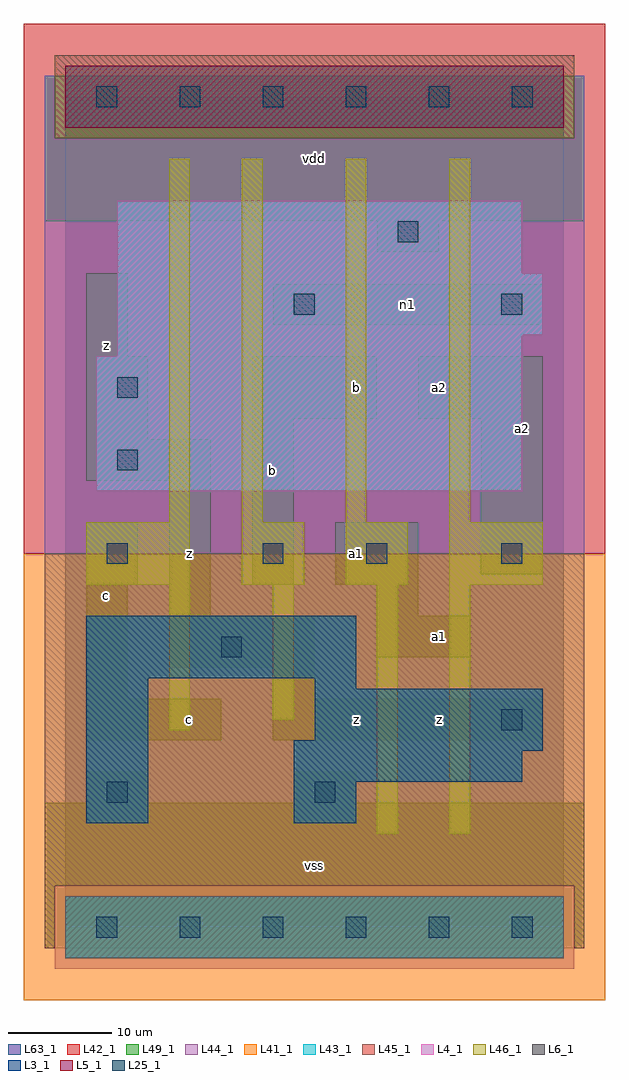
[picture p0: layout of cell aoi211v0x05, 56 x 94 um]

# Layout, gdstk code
import gdstk
lib = gdstk.Library(unit=1e-6, precision=1e-09)
def R(c, l, rs):  # rectangles x0, y0, x1, y1
    for r in rs: c.add(gdstk.rectangle(r[:2], r[2:], *l))
def A(c, l, x, y, w, h, nx, ny, dx, dy):  # array of equal rectangles
    R(c, l, [(x+i*dx, y+j*dy, x+i*dx+w, y+j*dy+h) for i in range(nx) for j in range(ny)])
L3_1 = (3, 1)
L4_1 = (4, 1)
L5_1 = (5, 1)
L6_1 = (6, 1)
L25_1 = (25, 1)
L41_1 = (41, 1)
L42_1 = (42, 1)
L43_1 = (43, 1)
L44_1 = (44, 1)
L45_1 = (45, 1)
L46_1 = (46, 1)
L49_1 = (49, 1)
L63_1 = (63, 1)

aoi211v0x05 = lib.new_cell('aoi211v0x05')
R(aoi211v0x05, L3_1, [(2,10,8,24), (22,10,28,14), (22,14,44,17), (22,17,46,18), (24,18,46,23), (24,23,28,24), (2,24,28,30)])
R(aoi211v0x05, L4_1, [(3,42,44,55), (5,55,44,57), (5,57,46,63), (5,63,44,70)])
R(aoi211v0x05, L5_1, [(0,77,48,83)])
R(aoi211v0x05, L6_1, [(0,-3,48,3), (0,-3,48,3)])
A(aoi211v0x05, L25_1, 3, -1, 2, 2, 6, 2, 8, 80)
R(aoi211v0x05, L25_1, [(4,12,6,14), (24,12,26,14), (42,19,44,21), (15,26,17,28), (4,35,6,37), (19,35,21,37), (29,35,31,37), (42,35,44,37), (5,44,7,46), (5,51,7,53), (22,59,24,61), (42,59,44,61), (32,66,34,68)])
R(aoi211v0x05, L41_1, [(-4,-7,52,36)])
R(aoi211v0x05, L42_1, [(-4,36,52,87)])
R(aoi211v0x05, L43_1, [(0,-3,48,3), (2,10,8,24), (22,10,28,14), (22,14,44,17), (22,17,46,18), (24,18,46,23), (24,23,28,24), (2,24,28,30), (3,42,44,55), (5,55,44,57), (5,57,46,63), (5,63,44,70), (0,77,48,83)])
R(aoi211v0x05, L44_1, [(-1,-4,49,4), (-2,36,50,76), (-2,76,-1,82), (49,76,50,82)])
R(aoi211v0x05, L45_1, [(-2,-2,-1,4), (49,-2,50,4), (-2,4,50,36), (-1,76,49,84)])
A(aoi211v0x05, L46_1, 17, 39, 2, 35, 3, 1, 10, 0)
R(aoi211v0x05, L46_1, [(30,9,32,33), (37,9,39,33), (10,19,12,33), (20,20,22,33), (2,33,12,39), (17,33,23,39), (27,33,33,39), (37,33,46,39), (10,39,12,74)])
R(aoi211v0x05, L49_1, [(-2,-2,50,12), (2,12,8,15), (22,12,28,15), (2,18,15,22), (20,18,46,22), (2,22,6,33), (20,22,24,25), (10,25,24,30), (30,26,39,30), (10,30,14,43), (30,30,34,33), (2,33,7,39), (18,33,22,49), (26,33,34,39), (40,34,46,49), (2,43,14,47), (2,47,8,55), (18,49,30,55), (34,49,46,55), (2,55,6,63), (20,58,46,62), (30,65,36,68), (-2,68,50,82)])
R(aoi211v0x05, L63_1, [(0,0,48,80)])
aoi211v0x05.add(gdstk.Label('c', (4,32), layer=49, texttype=1))
aoi211v0x05.add(gdstk.Label('z', (4,56), layer=49, texttype=1))
aoi211v0x05.add(gdstk.Label('c', (12,20), layer=49, texttype=1))
aoi211v0x05.add(gdstk.Label('z', (12,36), layer=49, texttype=1))
aoi211v0x05.add(gdstk.Label('vss', (24,6), layer=49, texttype=1))
aoi211v0x05.add(gdstk.Label('b', (20,44), layer=49, texttype=1))
aoi211v0x05.add(gdstk.Label('vdd', (24,74), layer=49, texttype=1))
aoi211v0x05.add(gdstk.Label('z', (28,20), layer=49, texttype=1))
aoi211v0x05.add(gdstk.Label('a1', (36,28), layer=49, texttype=1))
aoi211v0x05.add(gdstk.Label('z', (36,20), layer=49, texttype=1))
aoi211v0x05.add(gdstk.Label('a1', (28,36), layer=49, texttype=1))
aoi211v0x05.add(gdstk.Label('a2', (36,52), layer=49, texttype=1))
aoi211v0x05.add(gdstk.Label('b', (28,52), layer=49, texttype=1))
aoi211v0x05.add(gdstk.Label('a2', (44,48), layer=49, texttype=1))
aoi211v0x05.add(gdstk.Label('n1', (33,60), layer=49, texttype=1))

lib.write_gds('aoi211v0x05.gds')
